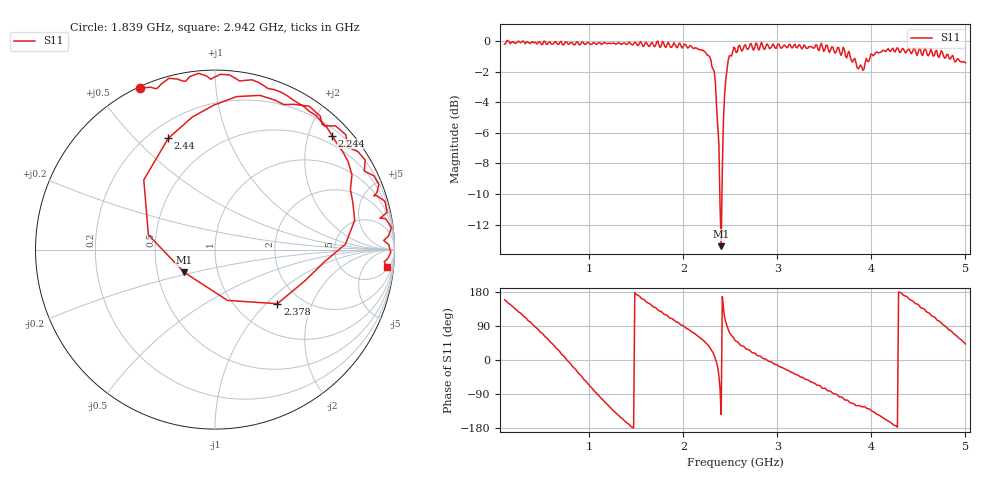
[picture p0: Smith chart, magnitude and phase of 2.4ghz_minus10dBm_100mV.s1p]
!Agilent Technologies,E8362C,MY49020251,A.08.50.10
!Agilent E8362C: A.08.50.10
!Date: Tuesday, May 17, 2016 04:36:41
!Correction: S11(Full 1 Port(1))
!S1P File: Measurement: S11:
# Hz S  dB  R 50
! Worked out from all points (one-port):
!   401 points, 100 MHz to 5 GHz, reference 50 ohm
!   lowest |S11| = -13.4 dB at 2.403 GHz (marker M1), VSWR 1.54, Z = 34.3 - j9.09 ohm
!   |S11| at or under -10 dB: 2.389 GHz to 2.411 GHz (22.75 MHz wide, 0.948 % of centre)
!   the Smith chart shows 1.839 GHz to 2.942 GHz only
!   S11 on the Smith chart (normalised r, x): 1.839 GHz: 0.01, +0.64; 2.244 GHz: 0.33, +2.42; 2.378 GHz: 1.53, -1.17; 2.44 GHz: 0.28, +0.63; 2.942 GHz: 6, -17
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1e8  -0.20 158.9
2.715e8  -0.10 123.5
4.185e8  -0.08 88.8
5.5325e8  -0.21 57.2
7.125e8  -0.20 14.2
8.595e8  -0.10 -26.3
1.031e9  -0.19 -74.6
1.16575e9  -0.09 -111.0
1.325e9  -0.14 -149.5
1.53325e9  -0.14 168.6
1.8395e9  -0.07 114.8
1.9375e9  -0.42 99.9
2.24375e9  -0.82 44.2
2.3295e9  -1.99 11.9
2.3785e9  -6.74 -40.9
2.403e9  -13.41 -143.7
2.43975e9  -3.45 112.8
2.4765e9  -1.30 82.0
2.55e9  -0.47 51.8
2.70925e9  -0.21 24.9
2.942e9  -0.33 -5.8
3.1625e9  -0.43 -33.2
3.49325e9  -0.67 -74.8
3.775e9  -1.01 -113.0
4.05675e9  -0.70 -142.7
4.3875e9  -0.56 165.0
4.71825e9  -1.07 102.7
5e9  -1.41 42.2
